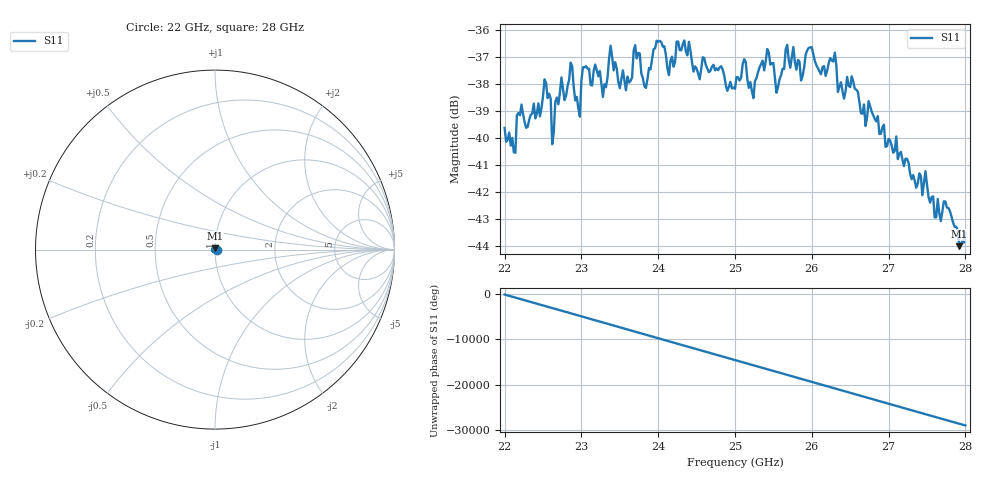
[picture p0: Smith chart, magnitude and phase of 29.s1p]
#  HZ  S  RI  R  50.00
! Rohde & Schwarz ZVA40 4Ports - Version 3.90 - 1145.1110k42 SN: 100403
! Date: 2023-10-04 07:28:01
! Measurement: S12
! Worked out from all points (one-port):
!   301 points, 22 GHz to 28 GHz, reference 50 ohm
!   lowest |S11| = -44.0 dB at 27.92 GHz (marker M1), VSWR 1.01, Z = 50 + j0.628 ohm
!   |S11| at or under -10 dB: start of sweep to end of sweep
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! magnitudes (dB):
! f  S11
! 22 GHz  -39.6
! 22.14 GHz  -40.5
! 22.16 GHz  -39.1
! 22.46 GHz  -39.2
! 22.52 GHz  -37.8
! 22.6 GHz  -38.5
! 22.62 GHz  -40.2
! 22.76 GHz  -38.2
! 22.86 GHz  -37.2
! 22.98 GHz  -39.2
! 23.02 GHz  -37.4
! 23.18 GHz  -37.3
! 23.28 GHz  -38.5
! 23.38 GHz  -36.6
! 23.5 GHz  -38.1
! 23.7 GHz  -36.6
! 23.84 GHz  -38.1
! 24.26 GHz  -36.4
! 25 GHz  -38.2
! 25.12 GHz  -37.1
! 25.24 GHz  -38.5
! 25.42 GHz  -36.7
! 25.54 GHz  -38.3
! 25.76 GHz  -36.6
! 26.5 GHz  -38.1
! 27.26 GHz  -40.9
! 27.92 GHz  -44.0
! 28 GHz  -43.5
